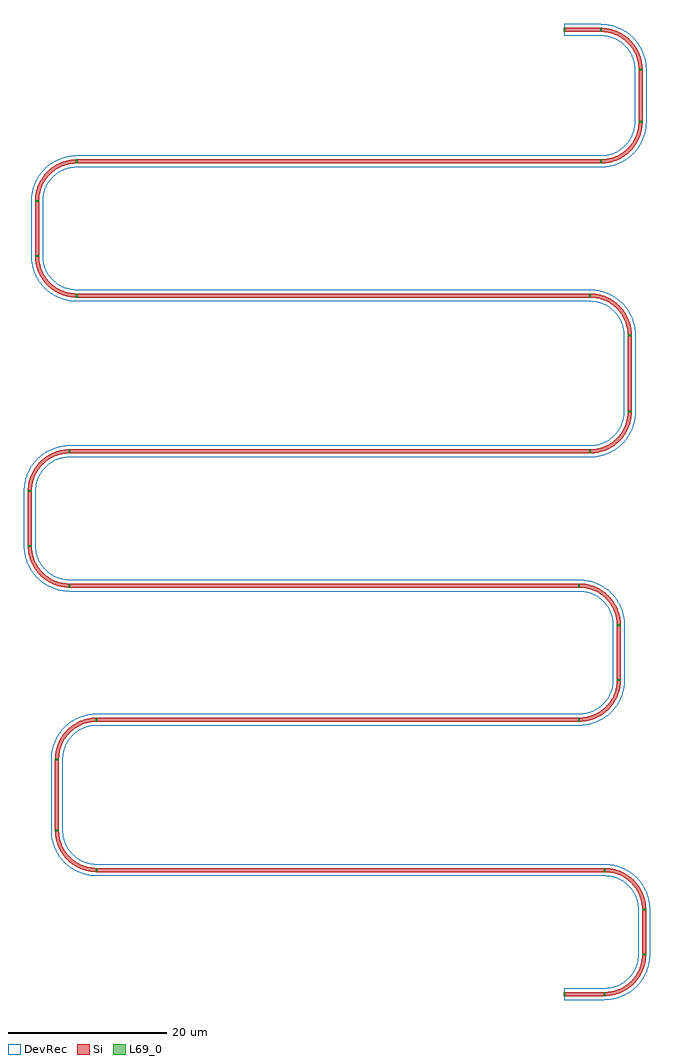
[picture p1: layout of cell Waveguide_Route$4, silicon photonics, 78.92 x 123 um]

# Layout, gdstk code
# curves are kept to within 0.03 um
from math import pi, radians
import gdstk
lib = gdstk.Library(unit=1e-6, precision=1e-09)
def R(c, l, rs):  # rectangles x0, y0, x1, y1
    for r in rs: c.add(gdstk.rectangle(r[:2], r[2:], *l))
def P(c, l, *ps):  # polygons
    for p in ps: c.add(gdstk.Polygon(p, *l))
Si = (1, 0)
DevRec = (68, 0)
L69_0 = (69, 0)

waveguide_bend_4 = lib.new_cell('Waveguide_Bend$4')
P(waveguide_bend_4, Si, [(-5,-0.25),(-5,0.25),(-4.057,0.345),(-3.151,0.625),(-2.432,1.004),(-1.69,1.594),(-1.079,2.319),(-0.625,3.151),(-0.345,4.057),(-0.25,5),(0.25,5),(0.145,3.957),(-0.164,2.956),(-0.583,2.162),(-1.235,1.341),(-2.037,0.666),(-2.956,0.164),(-3.957,-0.145)])
P(waveguide_bend_4, DevRec, [(-5,-0.75),(-5,0.75),(-4.156,0.835),(-3.346,1.085),(-2.702,1.425),(-2.038,1.952),(-1.492,2.601),(-1.085,3.346),(-0.835,4.156),(-0.75,5),(0.75,5),(0.666,4.019),(0.358,2.914),(-0.163,1.891),(-0.876,0.993),(-1.754,0.254),(-2.762,-0.296),(-3.858,-0.635)])
waveguide_bend_4.add(gdstk.FlexPath([(0,5.1),(0,4.9)], 0.5, ends="flush", simple_path=True, layer=69, datatype=0))  # L69_0
waveguide_bend_4.add(gdstk.FlexPath([(-4.9,0),(-5.1,0)], 0.5, ends="flush", simple_path=True, layer=69, datatype=0))  # L69_0
waveguide_bend_4.add(gdstk.Label('Lumerical_INTERCONNECT_library=Design kits/ebeam_v1.2', (-4.5,0), layer=68, texttype=0))
waveguide_bend_4.add(gdstk.Label('Lumerical_INTERCONNECT_component=ebeam_bend_1550', (-4.5,1.25), layer=68, texttype=0))
waveguide_bend_4.add(gdstk.Label('Spice_param:radius=5.000u wg_width=0.500u', (-4.5,2.5), layer=68, texttype=0))
waveguide_bend_4.add(gdstk.Label('pin2', (0,5), layer=69, texttype=0))
waveguide_bend_4.add(gdstk.Label('pin1', (-5,0), layer=69, texttype=0))

waveguide_straight_46_1 = lib.new_cell('Waveguide_Straight$46$1')
R(waveguide_straight_46_1, Si, [(-3.285,-0.25,3.285,0.25)])
R(waveguide_straight_46_1, DevRec, [(-3.285,-0.75,3.285,0.75)])
waveguide_straight_46_1.add(gdstk.FlexPath([(-3.385,0),(-3.185,0)], 0.5, ends="flush", simple_path=True, layer=69, datatype=0))  # L69_0
waveguide_straight_46_1.add(gdstk.FlexPath([(3.185,0),(3.385,0)], 0.5, ends="flush", simple_path=True, layer=69, datatype=0))  # L69_0
waveguide_straight_46_1.add(gdstk.Label('Lumerical_INTERCONNECT_library=Design kits/ebeam_v1.2', (0,0), layer=68, texttype=0))
waveguide_straight_46_1.add(gdstk.Label('Lumerical_INTERCONNECT_component=ebeam_wg_integral_1550', (0.657,0), layer=68, texttype=0))
waveguide_straight_46_1.add(gdstk.Label('Spice_param:wg_width=0.500u wg_length=6.570u', (0.73,0), layer=68, texttype=0))
waveguide_straight_46_1.add(gdstk.Label('pin1', (-3.285,0), layer=69, texttype=0))
waveguide_straight_46_1.add(gdstk.Label('pin2', (3.285,0), layer=69, texttype=0))

waveguide_straight_47_1 = lib.new_cell('Waveguide_Straight$47$1')
R(waveguide_straight_47_1, Si, [(-33.03,-0.25,33.03,0.25)])
R(waveguide_straight_47_1, DevRec, [(-33.03,-0.75,33.03,0.75)])
waveguide_straight_47_1.add(gdstk.FlexPath([(-33.13,0),(-32.93,0)], 0.5, ends="flush", simple_path=True, layer=69, datatype=0))  # L69_0
waveguide_straight_47_1.add(gdstk.FlexPath([(32.93,0),(33.13,0)], 0.5, ends="flush", simple_path=True, layer=69, datatype=0))  # L69_0
waveguide_straight_47_1.add(gdstk.Label('Lumerical_INTERCONNECT_library=Design kits/ebeam_v1.2', (0,0), layer=68, texttype=0))
waveguide_straight_47_1.add(gdstk.Label('Lumerical_INTERCONNECT_component=ebeam_wg_integral_1550', (6.606,0), layer=68, texttype=0))
waveguide_straight_47_1.add(gdstk.Label('Spice_param:wg_width=0.500u wg_length=66.060u', (7.34,0), layer=68, texttype=0))
waveguide_straight_47_1.add(gdstk.Label('pin1', (-33.03,0), layer=69, texttype=0))
waveguide_straight_47_1.add(gdstk.Label('pin2', (33.03,0), layer=69, texttype=0))

waveguide_straight_48_1 = lib.new_cell('Waveguide_Straight$48$1')
R(waveguide_straight_48_1, Si, [(-3.45,-0.25,3.45,0.25)])
R(waveguide_straight_48_1, DevRec, [(-3.45,-0.75,3.45,0.75)])
waveguide_straight_48_1.add(gdstk.FlexPath([(-3.55,0),(-3.35,0)], 0.5, ends="flush", simple_path=True, layer=69, datatype=0))  # L69_0
waveguide_straight_48_1.add(gdstk.FlexPath([(3.35,0),(3.55,0)], 0.5, ends="flush", simple_path=True, layer=69, datatype=0))  # L69_0
waveguide_straight_48_1.add(gdstk.Label('Lumerical_INTERCONNECT_library=Design kits/ebeam_v1.2', (0,0), layer=68, texttype=0))
waveguide_straight_48_1.add(gdstk.Label('Lumerical_INTERCONNECT_component=ebeam_wg_integral_1550', (0.69,0), layer=68, texttype=0))
waveguide_straight_48_1.add(gdstk.Label('Spice_param:wg_width=0.500u wg_length=6.900u', (0.766,0), layer=68, texttype=0))
waveguide_straight_48_1.add(gdstk.Label('pin1', (-3.45,0), layer=69, texttype=0))
waveguide_straight_48_1.add(gdstk.Label('pin2', (3.45,0), layer=69, texttype=0))

waveguide_straight_62 = lib.new_cell('Waveguide_Straight$62')
R(waveguide_straight_62, Si, [(-32.345,-0.25,32.345,0.25)])
R(waveguide_straight_62, DevRec, [(-32.345,-0.75,32.345,0.75)])
waveguide_straight_62.add(gdstk.FlexPath([(-32.445,0),(-32.245,0)], 0.5, ends="flush", simple_path=True, layer=69, datatype=0))  # L69_0
waveguide_straight_62.add(gdstk.FlexPath([(32.245,0),(32.445,0)], 0.5, ends="flush", simple_path=True, layer=69, datatype=0))  # L69_0
waveguide_straight_62.add(gdstk.Label('Lumerical_INTERCONNECT_library=Design kits/ebeam_v1.2', (0,0), layer=68, texttype=0))
waveguide_straight_62.add(gdstk.Label('Lumerical_INTERCONNECT_component=ebeam_wg_integral_1550', (6.469,0), layer=68, texttype=0))
waveguide_straight_62.add(gdstk.Label('Spice_param:wg_width=0.500u wg_length=64.690u', (7.187,0), layer=68, texttype=0))
waveguide_straight_62.add(gdstk.Label('pin1', (-32.345,0), layer=69, texttype=0))
waveguide_straight_62.add(gdstk.Label('pin2', (32.345,0), layer=69, texttype=0))

waveguide_straight_63 = lib.new_cell('Waveguide_Straight$63')
R(waveguide_straight_63, Si, [(-4.82,-0.25,4.82,0.25)])
R(waveguide_straight_63, DevRec, [(-4.82,-0.75,4.82,0.75)])
waveguide_straight_63.add(gdstk.FlexPath([(-4.92,0),(-4.72,0)], 0.5, ends="flush", simple_path=True, layer=69, datatype=0))  # L69_0
waveguide_straight_63.add(gdstk.FlexPath([(4.72,0),(4.92,0)], 0.5, ends="flush", simple_path=True, layer=69, datatype=0))  # L69_0
waveguide_straight_63.add(gdstk.Label('Lumerical_INTERCONNECT_library=Design kits/ebeam_v1.2', (0,0), layer=68, texttype=0))
waveguide_straight_63.add(gdstk.Label('Lumerical_INTERCONNECT_component=ebeam_wg_integral_1550', (0.964,0), layer=68, texttype=0))
waveguide_straight_63.add(gdstk.Label('Spice_param:wg_width=0.500u wg_length=9.640u', (1.071,0), layer=68, texttype=0))
waveguide_straight_63.add(gdstk.Label('pin1', (-4.82,0), layer=69, texttype=0))
waveguide_straight_63.add(gdstk.Label('pin2', (4.82,0), layer=69, texttype=0))

waveguide_straight_64 = lib.new_cell('Waveguide_Straight$64')
R(waveguide_straight_64, Si, [(-32.8,-0.25,32.8,0.25)])
R(waveguide_straight_64, DevRec, [(-32.8,-0.75,32.8,0.75)])
waveguide_straight_64.add(gdstk.FlexPath([(-32.9,0),(-32.7,0)], 0.5, ends="flush", simple_path=True, layer=69, datatype=0))  # L69_0
waveguide_straight_64.add(gdstk.FlexPath([(32.7,0),(32.9,0)], 0.5, ends="flush", simple_path=True, layer=69, datatype=0))  # L69_0
waveguide_straight_64.add(gdstk.Label('Lumerical_INTERCONNECT_library=Design kits/ebeam_v1.2', (0,0), layer=68, texttype=0))
waveguide_straight_64.add(gdstk.Label('Lumerical_INTERCONNECT_component=ebeam_wg_integral_1550', (6.56,0), layer=68, texttype=0))
waveguide_straight_64.add(gdstk.Label('Spice_param:wg_width=0.500u wg_length=65.600u', (7.288,0), layer=68, texttype=0))
waveguide_straight_64.add(gdstk.Label('pin1', (-32.8,0), layer=69, texttype=0))
waveguide_straight_64.add(gdstk.Label('pin2', (32.8,0), layer=69, texttype=0))

waveguide_straight_65 = lib.new_cell('Waveguide_Straight$65')
R(waveguide_straight_65, Si, [(-3.455,-0.25,3.455,0.25)])
R(waveguide_straight_65, DevRec, [(-3.455,-0.75,3.455,0.75)])
waveguide_straight_65.add(gdstk.FlexPath([(-3.555,0),(-3.355,0)], 0.5, ends="flush", simple_path=True, layer=69, datatype=0))  # L69_0
waveguide_straight_65.add(gdstk.FlexPath([(3.355,0),(3.555,0)], 0.5, ends="flush", simple_path=True, layer=69, datatype=0))  # L69_0
waveguide_straight_65.add(gdstk.Label('Lumerical_INTERCONNECT_library=Design kits/ebeam_v1.2', (0,0), layer=68, texttype=0))
waveguide_straight_65.add(gdstk.Label('Lumerical_INTERCONNECT_component=ebeam_wg_integral_1550', (0.691,0), layer=68, texttype=0))
waveguide_straight_65.add(gdstk.Label('Spice_param:wg_width=0.500u wg_length=6.910u', (0.767,0), layer=68, texttype=0))
waveguide_straight_65.add(gdstk.Label('pin1', (-3.455,0), layer=69, texttype=0))
waveguide_straight_65.add(gdstk.Label('pin2', (3.455,0), layer=69, texttype=0))

waveguide_straight_66 = lib.new_cell('Waveguide_Straight$66')
R(waveguide_straight_66, Si, [(-32.115,-0.25,32.115,0.25)])
R(waveguide_straight_66, DevRec, [(-32.115,-0.75,32.115,0.75)])
waveguide_straight_66.add(gdstk.FlexPath([(-32.215,0),(-32.015,0)], 0.5, ends="flush", simple_path=True, layer=69, datatype=0))  # L69_0
waveguide_straight_66.add(gdstk.FlexPath([(32.015,0),(32.215,0)], 0.5, ends="flush", simple_path=True, layer=69, datatype=0))  # L69_0
waveguide_straight_66.add(gdstk.Label('Lumerical_INTERCONNECT_library=Design kits/ebeam_v1.2', (0,0), layer=68, texttype=0))
waveguide_straight_66.add(gdstk.Label('Lumerical_INTERCONNECT_component=ebeam_wg_integral_1550', (6.423,0), layer=68, texttype=0))
waveguide_straight_66.add(gdstk.Label('Spice_param:wg_width=0.500u wg_length=64.230u', (7.136,0), layer=68, texttype=0))
waveguide_straight_66.add(gdstk.Label('pin1', (-32.115,0), layer=69, texttype=0))
waveguide_straight_66.add(gdstk.Label('pin2', (32.115,0), layer=69, texttype=0))

waveguide_straight_67 = lib.new_cell('Waveguide_Straight$67')
R(waveguide_straight_67, Si, [(-30.405,-0.25,30.405,0.25)])
R(waveguide_straight_67, DevRec, [(-30.405,-0.75,30.405,0.75)])
waveguide_straight_67.add(gdstk.FlexPath([(-30.505,0),(-30.305,0)], 0.5, ends="flush", simple_path=True, layer=69, datatype=0))  # L69_0
waveguide_straight_67.add(gdstk.FlexPath([(30.305,0),(30.505,0)], 0.5, ends="flush", simple_path=True, layer=69, datatype=0))  # L69_0
waveguide_straight_67.add(gdstk.Label('Lumerical_INTERCONNECT_library=Design kits/ebeam_v1.2', (0,0), layer=68, texttype=0))
waveguide_straight_67.add(gdstk.Label('Lumerical_INTERCONNECT_component=ebeam_wg_integral_1550', (6.081,0), layer=68, texttype=0))
waveguide_straight_67.add(gdstk.Label('Spice_param:wg_width=0.500u wg_length=60.810u', (6.756,0), layer=68, texttype=0))
waveguide_straight_67.add(gdstk.Label('pin1', (-30.405,0), layer=69, texttype=0))
waveguide_straight_67.add(gdstk.Label('pin2', (30.405,0), layer=69, texttype=0))

waveguide_straight_68 = lib.new_cell('Waveguide_Straight$68')
R(waveguide_straight_68, Si, [(-4.475,-0.25,4.475,0.25)])
R(waveguide_straight_68, DevRec, [(-4.475,-0.75,4.475,0.75)])
waveguide_straight_68.add(gdstk.FlexPath([(-4.575,0),(-4.375,0)], 0.5, ends="flush", simple_path=True, layer=69, datatype=0))  # L69_0
waveguide_straight_68.add(gdstk.FlexPath([(4.375,0),(4.575,0)], 0.5, ends="flush", simple_path=True, layer=69, datatype=0))  # L69_0
waveguide_straight_68.add(gdstk.Label('Lumerical_INTERCONNECT_library=Design kits/ebeam_v1.2', (0,0), layer=68, texttype=0))
waveguide_straight_68.add(gdstk.Label('Lumerical_INTERCONNECT_component=ebeam_wg_integral_1550', (0.895,0), layer=68, texttype=0))
waveguide_straight_68.add(gdstk.Label('Spice_param:wg_width=0.500u wg_length=8.950u', (0.994,0), layer=68, texttype=0))
waveguide_straight_68.add(gdstk.Label('pin1', (-4.475,0), layer=69, texttype=0))
waveguide_straight_68.add(gdstk.Label('pin2', (4.475,0), layer=69, texttype=0))

waveguide_straight_69 = lib.new_cell('Waveguide_Straight$69')
R(waveguide_straight_69, Si, [(-32,-0.25,32,0.25)])
R(waveguide_straight_69, DevRec, [(-32,-0.75,32,0.75)])
waveguide_straight_69.add(gdstk.FlexPath([(-32.1,0),(-31.9,0)], 0.5, ends="flush", simple_path=True, layer=69, datatype=0))  # L69_0
waveguide_straight_69.add(gdstk.FlexPath([(31.9,0),(32.1,0)], 0.5, ends="flush", simple_path=True, layer=69, datatype=0))  # L69_0
waveguide_straight_69.add(gdstk.Label('Lumerical_INTERCONNECT_library=Design kits/ebeam_v1.2', (0,0), layer=68, texttype=0))
waveguide_straight_69.add(gdstk.Label('Lumerical_INTERCONNECT_component=ebeam_wg_integral_1550', (6.4,0), layer=68, texttype=0))
waveguide_straight_69.add(gdstk.Label('Spice_param:wg_width=0.500u wg_length=64.000u', (7.111,0), layer=68, texttype=0))
waveguide_straight_69.add(gdstk.Label('pin1', (-32,0), layer=69, texttype=0))
waveguide_straight_69.add(gdstk.Label('pin2', (32,0), layer=69, texttype=0))

waveguide_straight_70 = lib.new_cell('Waveguide_Straight$70')
R(waveguide_straight_70, Si, [(-2.815,-0.25,2.815,0.25)])
R(waveguide_straight_70, DevRec, [(-2.815,-0.75,2.815,0.75)])
waveguide_straight_70.add(gdstk.FlexPath([(-2.915,0),(-2.715,0)], 0.5, ends="flush", simple_path=True, layer=69, datatype=0))  # L69_0
waveguide_straight_70.add(gdstk.FlexPath([(2.715,0),(2.915,0)], 0.5, ends="flush", simple_path=True, layer=69, datatype=0))  # L69_0
waveguide_straight_70.add(gdstk.Label('Lumerical_INTERCONNECT_library=Design kits/ebeam_v1.2', (0,0), layer=68, texttype=0))
waveguide_straight_70.add(gdstk.Label('Lumerical_INTERCONNECT_component=ebeam_wg_integral_1550', (0.563,0), layer=68, texttype=0))
waveguide_straight_70.add(gdstk.Label('Spice_param:wg_width=0.500u wg_length=5.630u', (0.625,0), layer=68, texttype=0))
waveguide_straight_70.add(gdstk.Label('pin1', (-2.815,0), layer=69, texttype=0))
waveguide_straight_70.add(gdstk.Label('pin2', (2.815,0), layer=69, texttype=0))

waveguide_straight_71 = lib.new_cell('Waveguide_Straight$71')
R(waveguide_straight_71, Si, [(-2.305,-0.25,2.305,0.25)])
R(waveguide_straight_71, DevRec, [(-2.305,-0.75,2.305,0.75)])
waveguide_straight_71.add(gdstk.FlexPath([(-2.405,0),(-2.205,0)], 0.5, ends="flush", simple_path=True, layer=69, datatype=0))  # L69_0
waveguide_straight_71.add(gdstk.FlexPath([(2.205,0),(2.405,0)], 0.5, ends="flush", simple_path=True, layer=69, datatype=0))  # L69_0
waveguide_straight_71.add(gdstk.Label('Lumerical_INTERCONNECT_library=Design kits/ebeam_v1.2', (0,0), layer=68, texttype=0))
waveguide_straight_71.add(gdstk.Label('Lumerical_INTERCONNECT_component=ebeam_wg_integral_1550', (0.461,0), layer=68, texttype=0))
waveguide_straight_71.add(gdstk.Label('Spice_param:wg_width=0.500u wg_length=4.610u', (0.512,0), layer=68, texttype=0))
waveguide_straight_71.add(gdstk.Label('pin1', (-2.305,0), layer=69, texttype=0))
waveguide_straight_71.add(gdstk.Label('pin2', (2.305,0), layer=69, texttype=0))

waveguide_straight_72 = lib.new_cell('Waveguide_Straight$72')
R(waveguide_straight_72, Si, [(-2.53,-0.25,2.53,0.25)])
R(waveguide_straight_72, DevRec, [(-2.53,-0.75,2.53,0.75)])
waveguide_straight_72.add(gdstk.FlexPath([(-2.63,0),(-2.43,0)], 0.5, ends="flush", simple_path=True, layer=69, datatype=0))  # L69_0
waveguide_straight_72.add(gdstk.FlexPath([(2.43,0),(2.63,0)], 0.5, ends="flush", simple_path=True, layer=69, datatype=0))  # L69_0
waveguide_straight_72.add(gdstk.Label('Lumerical_INTERCONNECT_library=Design kits/ebeam_v1.2', (0,0), layer=68, texttype=0))
waveguide_straight_72.add(gdstk.Label('Lumerical_INTERCONNECT_component=ebeam_wg_integral_1550', (0.506,0), layer=68, texttype=0))
waveguide_straight_72.add(gdstk.Label('Spice_param:wg_width=0.500u wg_length=5.060u', (0.562,0), layer=68, texttype=0))
waveguide_straight_72.add(gdstk.Label('pin1', (-2.53,0), layer=69, texttype=0))
waveguide_straight_72.add(gdstk.Label('pin2', (2.53,0), layer=69, texttype=0))

waveguide_route_4 = lib.new_cell('Waveguide_Route$4')
waveguide_route_4.add(gdstk.Reference(waveguide_bend_4, (64.41,136.25), x_reflection=True))
waveguide_route_4.add(gdstk.Reference(waveguide_bend_4, (64.41,119.68), rotation=3*pi/2, x_reflection=True))
waveguide_route_4.add(gdstk.Reference(waveguide_bend_4, (-11.65,119.68), rotation=pi))
waveguide_route_4.add(gdstk.Reference(waveguide_bend_4, (-11.65,102.78), rotation=3*pi/2))
waveguide_route_4.add(gdstk.Reference(waveguide_bend_4, (63.04,102.78), x_reflection=True))
waveguide_route_4.add(gdstk.Reference(waveguide_bend_4, (63.04,83.14), rotation=3*pi/2, x_reflection=True))
waveguide_route_4.add(gdstk.Reference(waveguide_bend_4, (-12.56,83.14), rotation=pi))
waveguide_route_4.add(gdstk.Reference(waveguide_bend_4, (-12.56,66.23), rotation=3*pi/2))
waveguide_route_4.add(gdstk.Reference(waveguide_bend_4, (61.67,66.23), x_reflection=True))
waveguide_route_4.add(gdstk.Reference(waveguide_bend_4, (61.67,49.33), rotation=3*pi/2, x_reflection=True))
waveguide_route_4.add(gdstk.Reference(waveguide_bend_4, (-9.14,49.33), rotation=pi))
waveguide_route_4.add(gdstk.Reference(waveguide_bend_4, (-9.14,30.38), rotation=3*pi/2))
waveguide_route_4.add(gdstk.Reference(waveguide_bend_4, (64.86,30.38), x_reflection=True))
waveguide_route_4.add(gdstk.Reference(waveguide_bend_4, (64.86,14.75), rotation=3*pi/2, x_reflection=True))
waveguide_route_4.add(gdstk.Reference(waveguide_straight_46_1, (64.41,127.965), rotation=3*pi/2))
waveguide_route_4.add(gdstk.Reference(waveguide_straight_47_1, (26.38,119.68), rotation=pi))
waveguide_route_4.add(gdstk.Reference(waveguide_straight_48_1, (-11.65,111.23), rotation=3*pi/2))
waveguide_route_4.add(gdstk.Reference(waveguide_straight_62, (25.695,102.78)))
waveguide_route_4.add(gdstk.Reference(waveguide_straight_63, (63.04,92.96), rotation=3*pi/2))
waveguide_route_4.add(gdstk.Reference(waveguide_straight_64, (25.24,83.14), rotation=pi))
waveguide_route_4.add(gdstk.Reference(waveguide_straight_65, (-12.56,74.685), rotation=3*pi/2))
waveguide_route_4.add(gdstk.Reference(waveguide_straight_66, (24.555,66.23)))
waveguide_route_4.add(gdstk.Reference(waveguide_straight_48_1, (61.67,57.78), rotation=3*pi/2))
waveguide_route_4.add(gdstk.Reference(waveguide_straight_67, (26.265,49.33), rotation=pi))
waveguide_route_4.add(gdstk.Reference(waveguide_straight_68, (-9.14,39.855), rotation=3*pi/2))
waveguide_route_4.add(gdstk.Reference(waveguide_straight_69, (27.86,30.38)))
waveguide_route_4.add(gdstk.Reference(waveguide_straight_70, (64.86,22.565), rotation=3*pi/2))
waveguide_route_4.add(gdstk.Reference(waveguide_straight_71, (57.105,136.25)))
waveguide_route_4.add(gdstk.Reference(waveguide_straight_72, (57.33,14.75), rotation=pi))

lib.write_gds('Waveguide_Route_4.gds')
